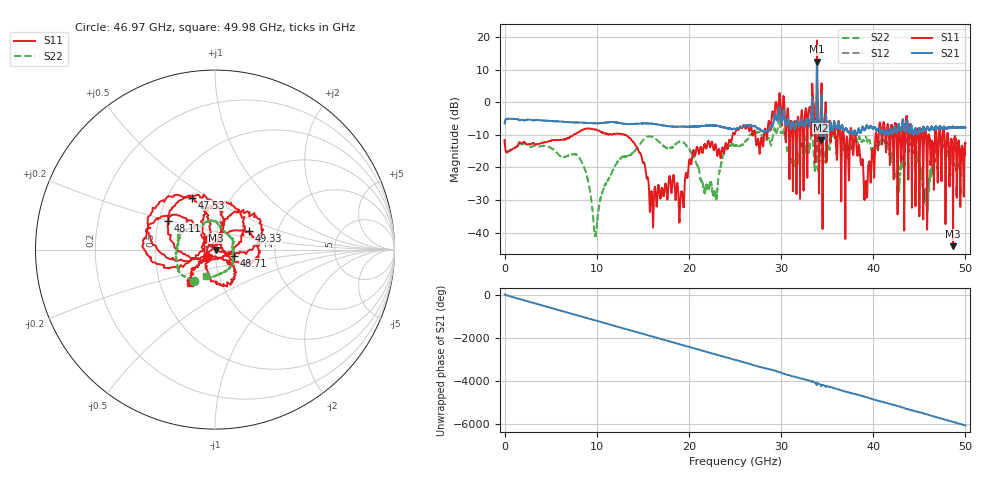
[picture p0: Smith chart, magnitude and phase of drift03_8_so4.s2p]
!Created with skrf (http://scikit-rf.org).
# Hz S RI R 50.0
!freq ReS11 ImS11 ReS21 ImS21 ReS12 ImS12 ReS22 ImS22
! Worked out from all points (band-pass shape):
!   10001 points, 300 kHz to 50 GHz, reference 50 ohm
!   highest |S21| = 12.50 dB at 33.9 GHz (marker M1); lowest = -11.6 dB at 34.32 GHz (marker M2)
!   |S21| within 3 dB of the highest: 33.88982 GHz to 33.90656 GHz (16.74 MHz wide, 0.0494 % of centre)
!   lowest |S11| = -44.2 dB at 48.67 GHz (marker M3), VSWR 1.01, Z = 50.6 - j0.231 ohm
!   |S11| at or under -10 dB: start of sweep to 7.487 GHz; 13.13 GHz to 24.74 GHz (11.61 GHz wide, 61.3 % of centre); 38.08 GHz to 40.26 GHz (2.184 GHz wide, 5.58 % of centre) (the widest 3 of 53)
!   |S22| runs from -41.3 to 4.7 dB; largest |S21 - S12| = 0.32
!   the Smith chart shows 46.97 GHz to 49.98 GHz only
!   S11 on the Smith chart (normalised r, x): 46.97 GHz: 0.91, -0.08; 47.53 GHz: 0.66, +0.43; 48.11 GHz: 0.56, +0.20; 48.71 GHz: 1.24, -0.09; 49.33 GHz: 1.43, +0.31; 49.98 GHz: 0.71, -0.28
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300000  -0.2373 -0.1159  0.4669 0.0766  0.4658 0.0787  -0.2331 -0.1237
1.440291e9  0.2097 0.0643  -0.5479 -0.0292  -0.5481 -0.0289  0.211 -0.00453
2.915283e9  -0.212 -0.0881  0.5342 0.051  0.5343 0.0508  -0.2029 0.0401
8.33525e9  0.2884 -0.234  0.1471 0.4653  0.1471 0.4656  -0.0734 -0.1004
9.855241e9  -0.361 0.1347  -0.1579 -0.4488  -0.1585 -0.4488  0.00888 0.00247
1.66702e10  0.0278 0.0445  -0.3768 0.2543  -0.3777 0.2547  -0.1258 -0.2183
2.500015e10  -0.3262 -0.0136  -0.256 -0.2947  -0.2551 -0.2969  -0.2132 0.0256
2.895513e10  -0.3215 0.4328  -0.286 0.3276  -0.2966 0.2921  0.065 0.2196
3.006512e10  0.396 0.26  0.447 -0.1988  0.45 -0.1854  0.1696 -0.2983
3.171011e10  -0.0881 0.1893  -0.3577 0.3582  -0.3571 0.3571  0.0648 0.1578
3.33351e10  0.5694 -0.8249  0.2243 -0.8277  0.2252 -0.8091  -0.1978 -0.4041
3.39001e10  3.712 -7.907  -3.751 -1.932  -3.688 -1.646  -0.6684 1.591
3.432009e10  -0.7795 0.00323  -0.1778 0.1952  -0.2391 0.1759  0.1421 -0.0671
4.167005e10  -0.1863 0.3066  0.3105 0.00499  0.3104 0.0111  -0.1898 -0.0113
4.697002e10  -0.047 -0.0431  0.0866 0.382  0.0859 0.3788  -0.1183 -0.1741
4.752501e10  -0.1276 0.2893  0.3894 0.0558  0.3898 0.057  -0.204 0.032
4.811001e10  -0.2615 0.1612  0.1963 -0.3575  0.2005 -0.3602  -0.0544 0.148
4.866501e10  0.00575 -0.00229  -0.2586 -0.3317  -0.2618 -0.3317  0.0786 0.0779
4.871001e10  0.1085 -0.0343  -0.2876 -0.2995  -0.2894 -0.2967  0.0868 0.0666
4.933e10  0.1887 0.1023  -0.3622 0.205  -0.3602 0.2043  0.0994 -0.0475
4.998e10  -0.1397 -0.1845  0.1265 0.3953  0.1267 0.3895  -0.0528 -0.1477
5e10  -0.13 -0.1997  0.1524 0.3822  0.1507 0.3815  -0.0557 -0.1452
